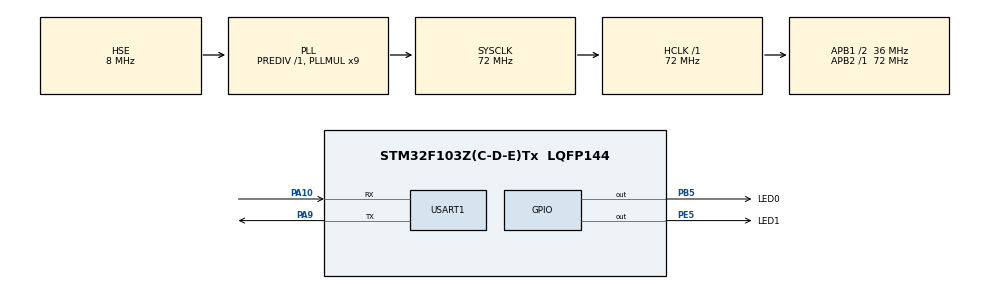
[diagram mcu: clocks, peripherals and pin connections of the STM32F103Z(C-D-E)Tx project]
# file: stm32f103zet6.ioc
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Dma.Request0=USART1_RX
Dma.Request1=USART1_TX
Dma.USART1_RX.0.Direction=DMA_PERIPH_TO_MEMORY
Dma.USART1_RX.0.Instance=DMA1_Channel5
Dma.USART1_RX.0.MemDataAlignment=DMA_MDATAALIGN_BYTE
Dma.USART1_RX.0.MemInc=DMA_MINC_ENABLE
Dma.USART1_RX.0.Mode=DMA_CIRCULAR
Dma.USART1_RX.0.PeriphDataAlignment=DMA_PDATAALIGN_BYTE
Dma.USART1_RX.0.PeriphInc=DMA_PINC_DISABLE
Dma.USART1_RX.0.Priority=DMA_PRIORITY_HIGH
Dma.USART1_TX.1.Direction=DMA_MEMORY_TO_PERIPH
Dma.USART1_TX.1.Instance=DMA1_Channel4
Dma.USART1_TX.1.MemDataAlignment=DMA_MDATAALIGN_BYTE
Dma.USART1_TX.1.MemInc=DMA_MINC_ENABLE
Dma.USART1_TX.1.Mode=DMA_NORMAL
Dma.USART1_TX.1.PeriphDataAlignment=DMA_PDATAALIGN_BYTE
Dma.USART1_TX.1.PeriphInc=DMA_PINC_DISABLE
Dma.USART1_TX.1.Priority=DMA_PRIORITY_MEDIUM
Mcu.Family=STM32F1
Mcu.Name=STM32F103Z(C-D-E)Tx
Mcu.Package=LQFP144
NVIC.DMA1_Channel4_IRQn=true\:0\:0\:false\:false\:true\:false\:true\:true
NVIC.DMA1_Channel5_IRQn=true\:0\:0\:false\:false\:true\:false\:true\:true
NVIC.PriorityGroup=NVIC_PRIORITYGROUP_4
NVIC.USART1_IRQn=true\:1\:0\:true\:false\:true\:true\:true\:true
OSC_IN.Mode=HSE-External-Oscillator
OSC_IN.Signal=RCC_OSC_IN
OSC_OUT.Mode=HSE-External-Oscillator
OSC_OUT.Signal=RCC_OSC_OUT
PA10.Mode=Asynchronous
PA10.Signal=USART1_RX
PA13.Mode=Serial_Wire
PA13.Signal=SYS_JTMS-SWDIO
PA14.Mode=Serial_Wire
PA14.Signal=SYS_JTCK-SWCLK
PA9.Mode=Asynchronous
PA9.Signal=USART1_TX
PB5.GPIO_Label=LED0
PB5.GPIO_ModeDefaultOutputPP=GPIO_MODE_OUTPUT_PP
PB5.GPIO_PuPd=GPIO_PULLDOWN
PB5.GPIO_Speed=GPIO_SPEED_FREQ_MEDIUM
PB5.Signal=GPIO_Output
PE5.GPIO_Label=LED1
PE5.GPIO_PuPd=GPIO_PULLDOWN
PE5.GPIO_Speed=GPIO_SPEED_FREQ_MEDIUM
PE5.Signal=GPIO_Output
ProjectManager.HeapSize=0x200
ProjectManager.StackSize=0x400
ProjectManager.TargetToolchain=MDK-ARM V5.32
RCC.AHBFreq_Value=72000000
RCC.APB1CLKDivider=RCC_HCLK_DIV2
RCC.APB1Freq_Value=36000000
RCC.APB1TimFreq_Value=72000000
RCC.APB2Freq_Value=72000000
RCC.APB2TimFreq_Value=72000000
RCC.HCLKFreq_Value=72000000
RCC.PLLMUL=RCC_PLL_MUL9
RCC.PLLSourceVirtual=RCC_PLLSOURCE_HSE
RCC.SYSCLKFreq_VALUE=72000000
RCC.SYSCLKSource=RCC_SYSCLKSOURCE_PLLCLK
RCC.USBFreq_Value=72000000
USART1.VirtualMode=VM_ASYNC
VP_RTC_VS_RTC_Activate.Mode=RTC_Enabled
board=custom

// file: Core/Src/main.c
/* USER CODE BEGIN Header */
/**
  ******************************************************************************
  * @file           : main.c
  * @brief          : Main program body
  ******************************************************************************
  * @attention
  *
  * Copyright (c) 2025 STMicroelectronics.
  * All rights reserved.
  *
  * This software is licensed under terms that can be found in the LICENSE file
  * in the root directory of this software component.
  * If no LICENSE file comes with this software, it is provided AS-IS.
  *
  ******************************************************************************
  */
/* USER CODE END Header */
#include "main.h"
#include "dma.h"
#include "rtc.h"
#include "usart.h"
#include "gpio.h"

/* USER CODE BEGIN Includes */
#include "bsp_usart_hal.h"
#include "retarget_rtt.h"
#include "app_jump.h"
#include "soft_crc32.h"
#include "op_flash.h"
#include "fw_verify.h"
#include "ymodem.h"
/* USER CODE END Includes */

/* USER CODE BEGIN PTD */

extern DMA_HandleTypeDef hdma_usart1_rx;
extern DMA_HandleTypeDef hdma_usart1_tx;

//! USART1缓存 RX方向
uint8_t gUsart1RXDMABuffer[2048];
uint8_t gUsart1RXRBBuffer[2048];
//! USART1缓存 TX方向
uint8_t gUsart1TXDMABuffer[2048];
uint8_t gUsart1TXRBBuffer[2048];
//! 实例化Usart1
USART_Driver_t gUsart1Drv = {
    .huart = &huart1,
    .hdma_rx = &hdma_usart1_rx,
    .hdma_tx = &hdma_usart1_tx,
};

//! YModem协议处理器实例
YModem_Handler_t gYModemHandler;

/* USER CODE END PTD */

void SystemClock_Config(void);

int main(void)
{
  /* USER CODE BEGIN 1 */
  log_printf("Entering the main initialization of the bootloader.\n");
  uint32_t fre = 0;
  /* USER CODE END 1 */

  /* MCU Configuration--------------------------------------------------------*/

  /* Reset of all peripherals, Initializes the Flash interface and the Systick. */
  HAL_Init();

  /* Configure the system clock */
  SystemClock_Config();

  /* Initialize all configured peripherals */
  MX_GPIO_Init();
  MX_DMA_Init();
  MX_USART1_UART_Init();
  MX_RTC_Init();
  /* USER CODE BEGIN 2 */

  //! USART1初始化
  USART_Config(&gUsart1Drv,
               gUsart1RXDMABuffer, gUsart1RXRBBuffer, sizeof(gUsart1RXDMABuffer),
               gUsart1TXDMABuffer, gUsart1TXRBBuffer, sizeof(gUsart1TXDMABuffer));

  //! YModem协议处理器初始化（完全解耦版本）
  YModem_Init(&gYModemHandler);

  log_printf("Bootloader init successfully.\n"); //! bootloader初始化完成
  /* USER CODE END 2 */

  /* Infinite loop */
  while (1)
  {

    /* USER CODE BEGIN 3 */
    //! 30ms
    if (0 == fre % 30) {
        HAL_GPIO_TogglePin(LED0_GPIO_Port,LED0_Pin); //! 心跳灯快闪（在bootlaoder程序里，心跳灯快闪。App程序，心跳灯慢闪。肉眼区分当前跑什么程序）
    }

    //! 2ms
    if (0 == fre % 2) {
        //! 处理已经接收的数据
        //! YModem协议处理 - 逐字节从ringbuffer里拿出数据来解析
        while(USART_Get_The_Existing_Amount_Of_Data(&gUsart1Drv)) {
            uint8_t data;
            if (USART_Take_A_Piece_Of_Data(&gUsart1Drv, &data)) {
                YModem_Result_t ymodem_result = YModem_Run(&gYModemHandler, data);

                //! 检查YModem传输结果
                if (ymodem_result == YMODEM_RESULT_COMPLETE) {
                    log_printf("YModem: IAP upgrade completed. Prepare to verify and copy the firmware.\r\n");
                    ///! 这里可以触发固件校验和复制流程

                    //! 重要：立即重置YModem处理器，准备下次传输
                    log_printf("YModem: resetting for next transmission...\r\n");
                    YModem_Reset(&gYModemHandler);

                    //! 清空串口接收缓冲区，防止残留数据干扰
                    //! 通过读取所有数据来清空RingBuffer
                    uint8_t dummy_data;
                    while(USART_Get_The_Existing_Amount_Of_Data(&gUsart1Drv)) {
                        USART_Take_A_Piece_Of_Data(&gUsart1Drv, &dummy_data);
                    }

                } else if (ymodem_result == YMODEM_RESULT_ERROR) {
                    log_printf("YModem: transmission error, reset protocol processor.\r\n"); //! 传输出错，重置协议处理器
                    YModem_Reset(&gYModemHandler);

                    //! 清空串口接收缓冲区，防止残留数据干扰
                    uint8_t dummy_data;
                    while(USART_Get_The_Existing_Amount_Of_Data(&gUsart1Drv)) {
                        USART_Take_A_Piece_Of_Data(&gUsart1Drv, &dummy_data);
                    }
                }
            }
        }

        //! 检查是否有YModem响应数据需要发送
        if (YModem_Has_Response(&gYModemHandler)) {
            uint8_t response_buffer[16];
            uint8_t response_length = YModem_Get_Response(&gYModemHandler, response_buffer, sizeof(response_buffer));
            if (response_length > 0) {
                //! 将响应数据发送给上位机
                USART_Put_TxData_To_Ringbuffer(&gUsart1Drv, response_buffer, response_length);
            }
        }

        USART_Module_Run(&gUsart1Drv); //! Usart1模块运行
    }

    fre++;
    HAL_Delay(1);
  }
  /* USER CODE END 3 */
}

void SystemClock_Config(void)
{
  RCC_OscInitTypeDef RCC_OscInitStruct = {0};
  RCC_ClkInitTypeDef RCC_ClkInitStruct = {0};
  RCC_PeriphCLKInitTypeDef PeriphClkInit = {0};

  /** Initializes the RCC Oscillators according to the specified parameters
  * in the RCC_OscInitTypeDef structure.
  */
  RCC_OscInitStruct.OscillatorType = RCC_OSCILLATORTYPE_LSI|RCC_OSCILLATORTYPE_HSE;
  RCC_OscInitStruct.HSEState = RCC_HSE_ON;
  RCC_OscInitStruct.HSEPredivValue = RCC_HSE_PREDIV_DIV1;
  RCC_OscInitStruct.HSIState = RCC_HSI_ON;
  RCC_OscInitStruct.LSIState = RCC_LSI_ON;
  RCC_OscInitStruct.PLL.PLLState = RCC_PLL_ON;
  RCC_OscInitStruct.PLL.PLLSource = RCC_PLLSOURCE_HSE;
  RCC_OscInitStruct.PLL.PLLMUL = RCC_PLL_MUL9;
  if (HAL_RCC_OscConfig(&RCC_OscInitStruct) != HAL_OK)
  {
    Error_Handler();
  }

  /** Initializes the CPU, AHB and APB buses clocks
  */
  RCC_ClkInitStruct.ClockType = RCC_CLOCKTYPE_HCLK|RCC_CLOCKTYPE_SYSCLK
                              |RCC_CLOCKTYPE_PCLK1|RCC_CLOCKTYPE_PCLK2;
  RCC_ClkInitStruct.SYSCLKSource = RCC_SYSCLKSOURCE_PLLCLK;
  RCC_ClkInitStruct.AHBCLKDivider = RCC_SYSCLK_DIV1;
  RCC_ClkInitStruct.APB1CLKDivider = RCC_HCLK_DIV2;
  RCC_ClkInitStruct.APB2CLKDivider = RCC_HCLK_DIV1;

  if (HAL_RCC_ClockConfig(&RCC_ClkInitStruct, FLASH_LATENCY_2) != HAL_OK)
  {
    Error_Handler();
  }
  PeriphClkInit.PeriphClockSelection = RCC_PERIPHCLK_RTC;
  PeriphClkInit.RTCClockSelection = RCC_RTCCLKSOURCE_LSI;
  if (HAL_RCCEx_PeriphCLKConfig(&PeriphClkInit) != HAL_OK)
  {
    Error_Handler();
  }
}

void Error_Handler(void)
{
  __disable_irq();
  while (1)
  {
  }
}
